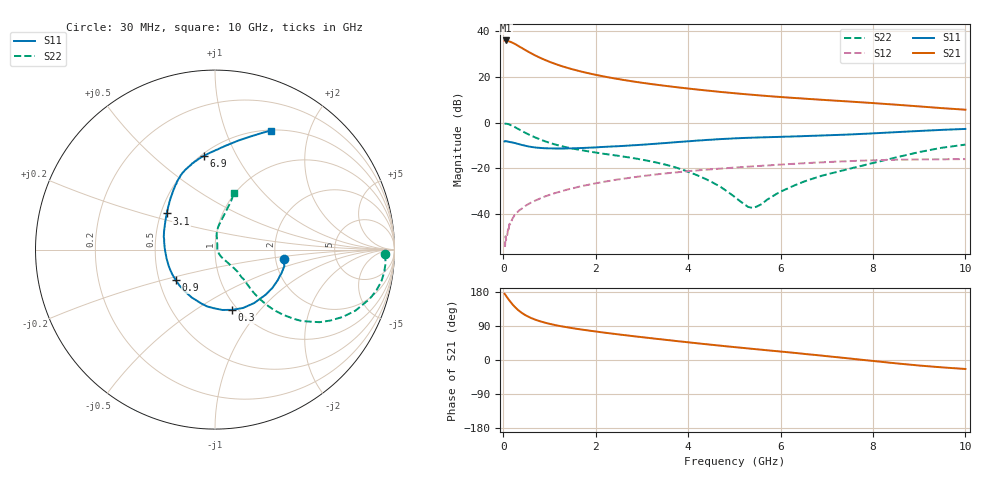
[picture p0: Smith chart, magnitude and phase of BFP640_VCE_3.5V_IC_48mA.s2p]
! (c) 2013  Infineon Technologies AG, Munich
! Infineon Technologies  Discrete & RF Semiconductors
! BFP640
! VCE =  3.5 V,  IC =  48 mA
! Common Emitter S-Parameters:  Apr 2013
# GHz  S  MA  R  50
!  f  S11  S21  S12  S22
! GHz  MAG  ANG  MAG  ANG  MAG  ANG  MAG  ANG
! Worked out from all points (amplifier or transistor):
!   99 points, 30 MHz to 10 GHz, reference 50 ohm
!   highest |S21| = 36.0 dB at 50 MHz (marker M1)
!   |S21| within 3 dB of that: start of sweep to 377.7 MHz
!   unconditionally stable (mu >= 1): 1.675 GHz to end of sweep
!   at 350 MHz: K = 0.50, MSG = 35.8 dB, |S12| = -38.3 dB
!   at 3.5 GHz: K = 1.07, MAG = 17.6 dB, |S12| = -22.2 dB
!   at 10 GHz: K = 1.06, MAG = 9.3 dB, |S12| = -15.9 dB
!   S11 on the Smith chart (normalised r, x): 30 MHz: 2.24, -0.28; 300 MHz: 0.94, -0.72; 900 MHz: 0.61, -0.23; 3.1 GHz: 0.54, +0.24; 6.9 GHz: 0.52, +0.75; 10 GHz: 0.51, +1.45
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0.03  0.3901 -7.7  62.46 174.6  0.0022 76.1  0.9478 -1.5
0.05  0.3973 -13.3  63.02 171.5  0.0033 107.5  0.9534 -4.5
0.09  0.3893 -25.5  61.98 164.3  0.0037 77.0  0.9441 -10.5
0.15  0.3778 -41.8  59.16 154.5  0.006 77.5  0.9003 -18.1
0.2  0.3692 -53.8  56.21 146.9  0.008 74.4  0.8539 -23.4
0.25  0.3608 -64.4  53.19 140.2  0.0097 70.2  0.8044 -27.8
0.3  0.3489 -74.2  49.72 134.3  0.0109 71.7  0.7545 -31.6
0.35  0.3388 -83.0  46.28 129.1  0.0122 70.3  0.7086 -34.8
0.45  0.32 -97.7  40.38 120.5  0.0145 68.4  0.6255 -39.5
0.6  0.2968 -115.7  33.18 111.0  0.0179 66.8  0.5245 -43.8
0.7  0.2872 -125.8  29.36 106.1  0.02 66.4  0.4734 -45.6
0.9  0.2769 -142.0  23.74 98.6  0.0244 65.8  0.3947 -47.4
1.3  0.2734 -165.7  16.88 88.1  0.0326 63.8  0.3012 -47.8
1.7  0.2805 178.0  13.07 80.3  0.0412 61.5  0.2504 -46.4
2.3  0.3008 160.8  9.744 70.5  0.0535 57.4  0.2014 -45.7
3.1  0.3358 143.2  7.26 58.9  0.0698 51.0  0.1494 -44.2
3.4  0.3541 137.4  6.618 54.8  0.0759 48.5  0.1286 -45.4
5.1  0.4597 113.8  4.335 32.9  0.1061 33.3  0.0202 -33.3
6.7  0.5184 98.8  3.274 13.9  0.1333 19.1  0.06 79.9
6.9  0.5266 96.6  3.177 11.5  0.1363 17.1  0.0697 81.4
8.5  0.6227 77.7  2.482 -8.8  0.1552 0.9  0.1746 77.1
10  0.7324 64.9  1.929 -23.7  0.1602 -11.1  0.3325 71.4
